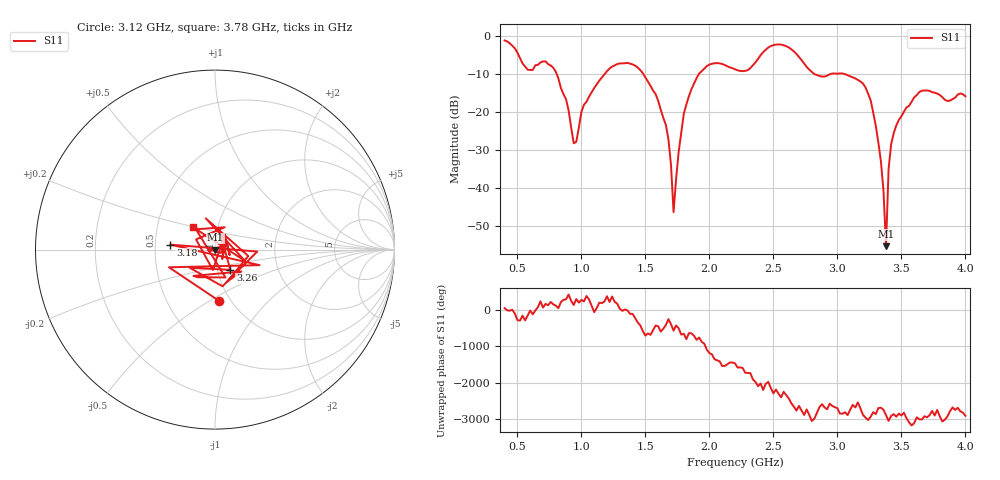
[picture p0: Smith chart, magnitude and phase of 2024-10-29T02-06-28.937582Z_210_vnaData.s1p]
!Created with skrf (http://scikit-rf.org).
# Hz S RI R 50.0
!freq ReS11 ImS11
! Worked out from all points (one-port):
!   181 points, 400 MHz to 4 GHz, reference 50 ohm
!   lowest |S11| = -55.4 dB at 3.38 GHz (marker M1), VSWR 1.00, Z = 50.2 - j0.032 ohm
!   |S11| at or under -10 dB: 806.4 MHz to 1.184 GHz (377.2 MHz wide, 37.9 % of centre); 1.483 GHz to 1.918 GHz (435.8 MHz wide, 25.6 % of centre); 3.051 GHz to end of sweep (the widest 3 of 4)
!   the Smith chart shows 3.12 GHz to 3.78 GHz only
!   S11 on the Smith chart (normalised r, x): 3.12 GHz: 0.88, -0.55; 3.18 GHz: 0.60, +0.04; 3.26 GHz: 1.15, -0.27; 3.78 GHz: 0.76, +0.20
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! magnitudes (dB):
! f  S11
! 400 MHz  -1.2
! 580 MHz  -8.9
! 780 MHz  -8.4
! 860 MHz  -15.4
! 940 MHz  -28.3
! 1.02 GHz  -18.1
! 1.3 GHz  -7.2
! 1.44 GHz  -8.3
! 1.6 GHz  -17.1
! 1.68 GHz  -27.3
! 1.72 GHz  -46.4
! 1.76 GHz  -30.5
! 1.8 GHz  -20.5
! 1.92 GHz  -9.9
! 2.2 GHz  -8.8
! 2.66 GHz  -4.1
! 2.82 GHz  -10.1
! 3.1 GHz  -10.7
! 3.12 GHz  -10.9
! 3.18 GHz  -12.0
! 3.26 GHz  -17.0
! 3.34 GHz  -33.1
! 3.38 GHz  -55.4
! 3.4 GHz  -35.0
! 3.42 GHz  -28.5
! 3.56 GHz  -18.4
! 3.78 GHz  -15.2
! 4 GHz  -15.9
